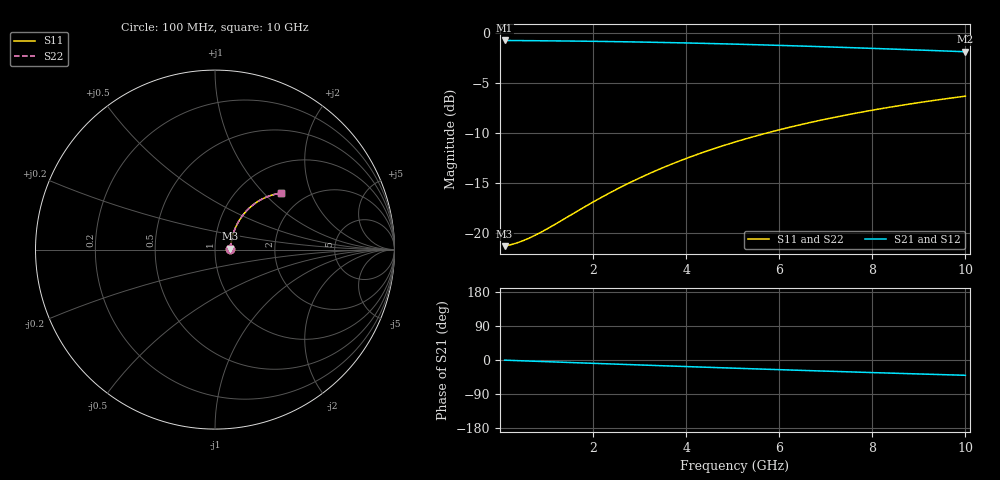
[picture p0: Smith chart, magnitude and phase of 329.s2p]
# Hz S RI R 50.00
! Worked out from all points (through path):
!   100 points, 100 MHz to 10 GHz, reference 50 ohm
!   highest |S21| = -0.78 dB at 100 MHz (marker M1); lowest = -1.9 dB at 10 GHz (marker M2)
!   group delay of S21, straight-line fit = 11.3 ps
!   lowest |S11| = -21.3 dB at 100 MHz (marker M3), VSWR 1.19, Z = 59.4 + j0.6 ohm
!   |S11| at or under -10 dB: start of sweep to 5.743 GHz
!   |S22| runs from -21.3 to -6.3 dB; largest |S21 - S12| = 0
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1e8  0.086 0.00501  0.914 -0.00703  0.914 -0.00703  0.086 0.00501
3e8  0.0872 0.015  0.9128 -0.0211  0.9128 -0.0211  0.0872 0.015
4e8  0.0878 0.02  0.9122 -0.0281  0.9122 -0.0281  0.0878 0.02
5e8  0.0884 0.0249  0.9115 -0.035  0.9115 -0.035  0.0884 0.0249
7e8  0.0898 0.0348  0.9101 -0.049  0.9101 -0.049  0.0898 0.0348
9e8  0.0913 0.0447  0.9085 -0.0629  0.9085 -0.0629  0.0913 0.0447
1.1e9  0.0932 0.0544  0.9066 -0.0767  0.9066 -0.0767  0.0932 0.0544
1.8e9  0.1016 0.088  0.8976 -0.1244  0.8976 -0.1244  0.1016 0.088
2.2e9  0.108 0.1066  0.891 -0.1511  0.891 -0.1511  0.108 0.1066
2.6e9  0.1153 0.1247  0.8832 -0.1773  0.8832 -0.1773  0.1153 0.1247
3e9  0.1237 0.1422  0.8743 -0.203  0.8743 -0.203  0.1237 0.1422
3.4e9  0.133 0.1591  0.8645 -0.228  0.8645 -0.228  0.133 0.1591
3.8e9  0.1432 0.1752  0.8537 -0.2523  0.8537 -0.2523  0.1432 0.1752
4.2e9  0.1542 0.1906  0.8419 -0.2758  0.8419 -0.2758  0.1542 0.1906
4.6e9  0.1661 0.2052  0.8293 -0.2986  0.8293 -0.2986  0.1661 0.2052
5.1e9  0.1818 0.2223  0.8126 -0.3259  0.8126 -0.3259  0.1818 0.2223
5.9e9  0.2089 0.2466  0.7835 -0.3667  0.7835 -0.3667  0.2089 0.2466
6.7e9  0.2378 0.2673  0.7524 -0.4039  0.7524 -0.4039  0.2378 0.2673
7.5e9  0.2681 0.2843  0.7196 -0.4374  0.7196 -0.4374  0.2681 0.2843
8.4e9  0.303 0.299  0.6814 -0.4709  0.6814 -0.4709  0.303 0.299
9.2e9  0.3344 0.3083  0.6468 -0.497  0.6468 -0.497  0.3344 0.3083
1e10  0.3656 0.3142  0.612 -0.5198  0.612 -0.5198  0.3656 0.3142
